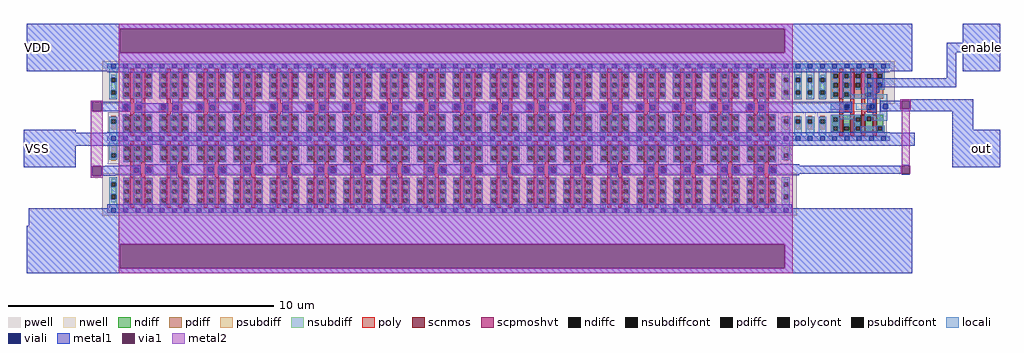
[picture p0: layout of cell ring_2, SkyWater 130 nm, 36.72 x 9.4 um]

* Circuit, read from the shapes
.subckt ring_2 VSS VDD enable out
XM1 sky130_fd_sc_hd__inv_2_35/A sky130_fd_sc_hd__inv_2_33/A VSS VSS sky130_fd_pr__nfet_01v8 w=0.65 l=0.15 m=2
XM2 sky130_fd_sc_hd__inv_2_19/A sky130_fd_sc_hd__inv_2_35/A VSS VSS sky130_fd_pr__nfet_01v8 w=0.65 l=0.15 m=2
XM3 sky130_fd_sc_hd__inv_2_33/A sky130_fd_sc_hd__inv_2_18/A VSS VSS sky130_fd_pr__nfet_01v8 w=0.65 l=0.15 m=2
XM4 sky130_fd_sc_hd__inv_2_34/A sky130_fd_sc_hd__inv_2_19/A VSS VSS sky130_fd_pr__nfet_01v8 w=0.65 l=0.15 m=2
XM5 sky130_fd_sc_hd__inv_2_18/A sky130_fd_sc_hd__inv_2_32/A VSS VSS sky130_fd_pr__nfet_01v8 w=0.65 l=0.15 m=2
XM6 sky130_fd_sc_hd__inv_2_31/A sky130_fd_sc_hd__inv_2_34/A VSS VSS sky130_fd_pr__nfet_01v8 w=0.65 l=0.15 m=2
XM7 sky130_fd_sc_hd__inv_2_32/A sky130_fd_sc_hd__inv_2_30/A VSS VSS sky130_fd_pr__nfet_01v8 w=0.65 l=0.15 m=2
XM8 sky130_fd_sc_hd__inv_2_29/A sky130_fd_sc_hd__inv_2_31/A VSS VSS sky130_fd_pr__nfet_01v8 w=0.65 l=0.15 m=2
XM9 sky130_fd_sc_hd__inv_2_30/A sky130_fd_sc_hd__inv_2_28/A VSS VSS sky130_fd_pr__nfet_01v8 w=0.65 l=0.15 m=2
XM10 sky130_fd_sc_hd__inv_2_27/A sky130_fd_sc_hd__inv_2_29/A VSS VSS sky130_fd_pr__nfet_01v8 w=0.65 l=0.15 m=2
XM11 sky130_fd_sc_hd__inv_2_28/A sky130_fd_sc_hd__inv_2_24/A VSS VSS sky130_fd_pr__nfet_01v8 w=0.65 l=0.15 m=2
XM12 sky130_fd_sc_hd__inv_2_26/A sky130_fd_sc_hd__inv_2_27/A VSS VSS sky130_fd_pr__nfet_01v8 w=0.65 l=0.15 m=2
XM13 sky130_fd_sc_hd__inv_2_24/A sky130_fd_sc_hd__inv_2_25/A VSS VSS sky130_fd_pr__nfet_01v8 w=0.65 l=0.15 m=2
XM14 sky130_fd_sc_hd__inv_2_23/A sky130_fd_sc_hd__inv_2_26/A VSS VSS sky130_fd_pr__nfet_01v8 w=0.65 l=0.15 m=2
XM15 sky130_fd_sc_hd__inv_2_25/A sky130_fd_sc_hd__inv_2_22/A VSS VSS sky130_fd_pr__nfet_01v8 w=0.65 l=0.15 m=2
XM16 sky130_fd_sc_hd__inv_2_21/A sky130_fd_sc_hd__inv_2_23/A VSS VSS sky130_fd_pr__nfet_01v8 w=0.65 l=0.15 m=2
XM17 sky130_fd_sc_hd__inv_2_22/A sky130_fd_sc_hd__inv_2_20/A VSS VSS sky130_fd_pr__nfet_01v8 w=0.65 l=0.15 m=2
XM18 sky130_fd_sc_hd__inv_2_1/A sky130_fd_sc_hd__inv_2_21/A VSS VSS sky130_fd_pr__nfet_01v8 w=0.65 l=0.15 m=2
XM19 sky130_fd_sc_hd__inv_2_20/A sky130_fd_sc_hd__inv_2_8/A VSS VSS sky130_fd_pr__nfet_01v8 w=0.65 l=0.15 m=2
XM20 sky130_fd_sc_hd__inv_2_2/A sky130_fd_sc_hd__inv_2_1/A VSS VSS sky130_fd_pr__nfet_01v8 w=0.65 l=0.15 m=2
XM21 sky130_fd_sc_hd__inv_2_8/A sky130_fd_sc_hd__inv_2_17/A VSS VSS sky130_fd_pr__nfet_01v8 w=0.65 l=0.15 m=2
XM22 sky130_fd_sc_hd__inv_2_3/A sky130_fd_sc_hd__inv_2_2/A VSS VSS sky130_fd_pr__nfet_01v8 w=0.65 l=0.15 m=2
XM23 sky130_fd_sc_hd__inv_2_17/A sky130_fd_sc_hd__inv_2_16/A VSS VSS sky130_fd_pr__nfet_01v8 w=0.65 l=0.15 m=2
XM24 sky130_fd_sc_hd__inv_2_4/A sky130_fd_sc_hd__inv_2_3/A VSS VSS sky130_fd_pr__nfet_01v8 w=0.65 l=0.15 m=2
XM25 sky130_fd_sc_hd__inv_2_16/A sky130_fd_sc_hd__inv_2_15/A VSS VSS sky130_fd_pr__nfet_01v8 w=0.65 l=0.15 m=2
XM26 sky130_fd_sc_hd__inv_2_5/A sky130_fd_sc_hd__inv_2_4/A VSS VSS sky130_fd_pr__nfet_01v8 w=0.65 l=0.15 m=2
XM27 sky130_fd_sc_hd__inv_2_15/A sky130_fd_sc_hd__inv_2_14/A VSS VSS sky130_fd_pr__nfet_01v8 w=0.65 l=0.15 m=2
XM28 sky130_fd_sc_hd__inv_2_6/A sky130_fd_sc_hd__inv_2_5/A VSS VSS sky130_fd_pr__nfet_01v8 w=0.65 l=0.15 m=2
XM29 sky130_fd_sc_hd__inv_2_14/A sky130_fd_sc_hd__inv_2_13/A VSS VSS sky130_fd_pr__nfet_01v8 w=0.65 l=0.15 m=2
XM30 sky130_fd_sc_hd__inv_2_7/A sky130_fd_sc_hd__inv_2_6/A VSS VSS sky130_fd_pr__nfet_01v8 w=0.65 l=0.15 m=2
XM31 sky130_fd_sc_hd__inv_2_13/A sky130_fd_sc_hd__inv_2_12/A VSS VSS sky130_fd_pr__nfet_01v8 w=0.65 l=0.15 m=2
XM32 sky130_fd_sc_hd__inv_2_0/A sky130_fd_sc_hd__inv_2_7/A VSS VSS sky130_fd_pr__nfet_01v8 w=0.65 l=0.15 m=2
XM33 sky130_fd_sc_hd__inv_2_12/A sky130_fd_sc_hd__inv_2_11/A VSS VSS sky130_fd_pr__nfet_01v8 w=0.65 l=0.15 m=2
XM34 sky130_fd_sc_hd__inv_2_9/A sky130_fd_sc_hd__inv_2_0/A VSS VSS sky130_fd_pr__nfet_01v8 w=0.65 l=0.15 m=2
XM35 sky130_fd_sc_hd__inv_2_11/A out VSS VSS sky130_fd_pr__nfet_01v8 w=0.65 l=0.15 m=2
XM36 sky130_fd_sc_hd__nand2_2_0/B sky130_fd_sc_hd__inv_2_9/A VSS VSS sky130_fd_pr__nfet_01v8 w=0.65 l=0.15 m=2
XM37 VSS sky130_fd_sc_hd__nand2_2_0/B n1 VSS sky130_fd_pr__nfet_01v8 w=0.65 l=0.15 m=2
XM38 out enable n1 VSS sky130_fd_pr__nfet_01v8 w=0.65 l=0.15 m=2
XM39 sky130_fd_sc_hd__inv_2_35/A sky130_fd_sc_hd__inv_2_33/A VDD VDD sky130_fd_pr__pfet_01v8_hvt w=1 l=0.15 m=2
XM40 sky130_fd_sc_hd__inv_2_19/A sky130_fd_sc_hd__inv_2_35/A VDD VDD sky130_fd_pr__pfet_01v8_hvt w=1 l=0.15 m=2
XM41 sky130_fd_sc_hd__inv_2_33/A sky130_fd_sc_hd__inv_2_18/A VDD VDD sky130_fd_pr__pfet_01v8_hvt w=1 l=0.15 m=2
XM42 sky130_fd_sc_hd__inv_2_34/A sky130_fd_sc_hd__inv_2_19/A VDD VDD sky130_fd_pr__pfet_01v8_hvt w=1 l=0.15 m=2
XM43 sky130_fd_sc_hd__inv_2_18/A sky130_fd_sc_hd__inv_2_32/A VDD VDD sky130_fd_pr__pfet_01v8_hvt w=1 l=0.15 m=2
XM44 sky130_fd_sc_hd__inv_2_31/A sky130_fd_sc_hd__inv_2_34/A VDD VDD sky130_fd_pr__pfet_01v8_hvt w=1 l=0.15 m=2
XM45 sky130_fd_sc_hd__inv_2_32/A sky130_fd_sc_hd__inv_2_30/A VDD VDD sky130_fd_pr__pfet_01v8_hvt w=1 l=0.15 m=2
XM46 sky130_fd_sc_hd__inv_2_29/A sky130_fd_sc_hd__inv_2_31/A VDD VDD sky130_fd_pr__pfet_01v8_hvt w=1 l=0.15 m=2
XM47 sky130_fd_sc_hd__inv_2_30/A sky130_fd_sc_hd__inv_2_28/A VDD VDD sky130_fd_pr__pfet_01v8_hvt w=1 l=0.15 m=2
XM48 sky130_fd_sc_hd__inv_2_27/A sky130_fd_sc_hd__inv_2_29/A VDD VDD sky130_fd_pr__pfet_01v8_hvt w=1 l=0.15 m=2
XM49 sky130_fd_sc_hd__inv_2_28/A sky130_fd_sc_hd__inv_2_24/A VDD VDD sky130_fd_pr__pfet_01v8_hvt w=1 l=0.15 m=2
XM50 sky130_fd_sc_hd__inv_2_26/A sky130_fd_sc_hd__inv_2_27/A VDD VDD sky130_fd_pr__pfet_01v8_hvt w=1 l=0.15 m=2
XM51 sky130_fd_sc_hd__inv_2_24/A sky130_fd_sc_hd__inv_2_25/A VDD VDD sky130_fd_pr__pfet_01v8_hvt w=1 l=0.15 m=2
XM52 sky130_fd_sc_hd__inv_2_23/A sky130_fd_sc_hd__inv_2_26/A VDD VDD sky130_fd_pr__pfet_01v8_hvt w=1 l=0.15 m=2
XM53 sky130_fd_sc_hd__inv_2_25/A sky130_fd_sc_hd__inv_2_22/A VDD VDD sky130_fd_pr__pfet_01v8_hvt w=1 l=0.15 m=2
XM54 sky130_fd_sc_hd__inv_2_21/A sky130_fd_sc_hd__inv_2_23/A VDD VDD sky130_fd_pr__pfet_01v8_hvt w=1 l=0.15 m=2
XM55 sky130_fd_sc_hd__inv_2_22/A sky130_fd_sc_hd__inv_2_20/A VDD VDD sky130_fd_pr__pfet_01v8_hvt w=1 l=0.15 m=2
XM56 sky130_fd_sc_hd__inv_2_1/A sky130_fd_sc_hd__inv_2_21/A VDD VDD sky130_fd_pr__pfet_01v8_hvt w=1 l=0.15 m=2
XM57 sky130_fd_sc_hd__inv_2_20/A sky130_fd_sc_hd__inv_2_8/A VDD VDD sky130_fd_pr__pfet_01v8_hvt w=1 l=0.15 m=2
XM58 sky130_fd_sc_hd__inv_2_2/A sky130_fd_sc_hd__inv_2_1/A VDD VDD sky130_fd_pr__pfet_01v8_hvt w=1 l=0.15 m=2
XM59 sky130_fd_sc_hd__inv_2_8/A sky130_fd_sc_hd__inv_2_17/A VDD VDD sky130_fd_pr__pfet_01v8_hvt w=1 l=0.15 m=2
XM60 sky130_fd_sc_hd__inv_2_3/A sky130_fd_sc_hd__inv_2_2/A VDD VDD sky130_fd_pr__pfet_01v8_hvt w=1 l=0.15 m=2
XM61 sky130_fd_sc_hd__inv_2_17/A sky130_fd_sc_hd__inv_2_16/A VDD VDD sky130_fd_pr__pfet_01v8_hvt w=1 l=0.15 m=2
XM62 sky130_fd_sc_hd__inv_2_4/A sky130_fd_sc_hd__inv_2_3/A VDD VDD sky130_fd_pr__pfet_01v8_hvt w=1 l=0.15 m=2
XM63 sky130_fd_sc_hd__inv_2_16/A sky130_fd_sc_hd__inv_2_15/A VDD VDD sky130_fd_pr__pfet_01v8_hvt w=1 l=0.15 m=2
XM64 sky130_fd_sc_hd__inv_2_5/A sky130_fd_sc_hd__inv_2_4/A VDD VDD sky130_fd_pr__pfet_01v8_hvt w=1 l=0.15 m=2
XM65 sky130_fd_sc_hd__inv_2_15/A sky130_fd_sc_hd__inv_2_14/A VDD VDD sky130_fd_pr__pfet_01v8_hvt w=1 l=0.15 m=2
XM66 sky130_fd_sc_hd__inv_2_6/A sky130_fd_sc_hd__inv_2_5/A VDD VDD sky130_fd_pr__pfet_01v8_hvt w=1 l=0.15 m=2
XM67 sky130_fd_sc_hd__inv_2_14/A sky130_fd_sc_hd__inv_2_13/A VDD VDD sky130_fd_pr__pfet_01v8_hvt w=1 l=0.15 m=2
XM68 sky130_fd_sc_hd__inv_2_7/A sky130_fd_sc_hd__inv_2_6/A VDD VDD sky130_fd_pr__pfet_01v8_hvt w=1 l=0.15 m=2
XM69 sky130_fd_sc_hd__inv_2_13/A sky130_fd_sc_hd__inv_2_12/A VDD VDD sky130_fd_pr__pfet_01v8_hvt w=1 l=0.15 m=2
XM70 sky130_fd_sc_hd__inv_2_0/A sky130_fd_sc_hd__inv_2_7/A VDD VDD sky130_fd_pr__pfet_01v8_hvt w=1 l=0.15 m=2
XM71 sky130_fd_sc_hd__inv_2_12/A sky130_fd_sc_hd__inv_2_11/A VDD VDD sky130_fd_pr__pfet_01v8_hvt w=1 l=0.15 m=2
XM72 sky130_fd_sc_hd__inv_2_9/A sky130_fd_sc_hd__inv_2_0/A VDD VDD sky130_fd_pr__pfet_01v8_hvt w=1 l=0.15 m=2
XM73 sky130_fd_sc_hd__inv_2_11/A out VDD VDD sky130_fd_pr__pfet_01v8_hvt w=1 l=0.15 m=2
XM74 sky130_fd_sc_hd__nand2_2_0/B sky130_fd_sc_hd__inv_2_9/A VDD VDD sky130_fd_pr__pfet_01v8_hvt w=1 l=0.15 m=2
XM75 out sky130_fd_sc_hd__nand2_2_0/B VDD VDD sky130_fd_pr__pfet_01v8_hvt w=1 l=0.15 m=2
XM76 out enable VDD VDD sky130_fd_pr__pfet_01v8_hvt w=1 l=0.15 m=2
.ends

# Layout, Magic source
magic
tech sky130A
magscale 1 2
<< nwell >>
rect 2640 136 2944 360
<< viali >>
rect -1954 0 -1920 34
rect -1854 -10 -1820 24
rect -1670 0 -1636 34
rect -1578 -10 -1544 24
rect -1398 0 -1364 34
rect -1302 -10 -1268 24
rect -1122 0 -1088 34
rect -1026 -10 -992 24
rect -846 0 -812 34
rect -750 -10 -716 24
rect -570 0 -536 34
rect -474 -10 -440 24
rect -294 0 -260 34
rect -198 -10 -164 24
rect -18 0 16 34
rect 78 -10 112 24
rect 258 0 292 34
rect 354 -10 388 24
rect 534 0 568 34
rect 630 -10 664 24
rect 820 0 854 34
rect 906 -10 940 24
rect 1086 0 1120 34
rect 1182 -10 1216 24
rect 1362 0 1396 34
rect 1458 -10 1492 24
rect 1638 0 1672 34
rect 1734 -10 1768 24
rect 1914 0 1948 34
rect 2010 -10 2044 24
rect 2190 0 2224 34
rect 2286 -10 2320 24
rect 2466 0 2500 34
rect 2562 -10 2596 24
rect 2742 0 2776 34
rect 2830 -10 2864 24
rect 3470 0 3504 34
rect 3660 0 3694 34
rect 3760 0 3794 34
rect -1874 -480 -1840 -446
rect -1780 -480 -1746 -446
rect -1600 -470 -1566 -436
rect -1498 -484 -1464 -450
rect -1318 -474 -1284 -440
rect -1222 -484 -1188 -450
rect -1042 -474 -1008 -440
rect -946 -484 -912 -450
rect -766 -474 -732 -440
rect -670 -484 -636 -450
rect -490 -474 -456 -440
rect -394 -484 -360 -450
rect -214 -474 -180 -440
rect -118 -484 -84 -450
rect 62 -474 96 -440
rect 158 -484 192 -450
rect 338 -474 372 -440
rect 434 -484 468 -450
rect 614 -474 648 -440
rect 710 -474 744 -440
rect 890 -474 924 -440
rect 986 -484 1020 -450
rect 1166 -474 1200 -440
rect 1262 -484 1296 -450
rect 1442 -474 1476 -440
rect 1538 -484 1572 -450
rect 1718 -474 1752 -440
rect 1814 -484 1848 -450
rect 1994 -474 2028 -440
rect 2090 -484 2124 -450
rect 2270 -474 2304 -440
rect 2366 -484 2400 -450
rect 2546 -474 2580 -440
rect 2642 -484 2676 -450
rect 2822 -474 2856 -440
rect 2918 -484 2952 -450
<< metal1 >>
rect -2684 600 3980 640
rect -2684 420 -1984 600
rect 3020 420 3980 600
rect 4360 495 4640 640
rect -2684 280 3980 420
rect 4240 425 4640 495
rect 4240 230 4310 425
rect 4360 280 4640 425
rect 3640 160 4310 230
rect 3640 120 3730 160
rect -2195 -20 -2189 50
rect -2119 34 -1904 50
rect -1864 40 -1820 50
rect -2119 0 -1954 34
rect -1920 0 -1904 34
rect -2119 -20 -1904 0
rect -1870 34 -1620 40
rect -1870 24 -1670 34
rect -1870 -10 -1854 24
rect -1820 0 -1670 24
rect -1636 0 -1620 34
rect -1820 -10 -1620 0
rect -1870 -30 -1620 -10
rect -1588 34 -1348 50
rect -1588 24 -1398 34
rect -1588 -10 -1578 24
rect -1544 0 -1398 24
rect -1364 0 -1348 34
rect -1544 -10 -1348 0
rect -1588 -30 -1348 -10
rect -1312 34 -1072 50
rect -1312 24 -1122 34
rect -1312 -10 -1302 24
rect -1268 0 -1122 24
rect -1088 0 -1072 34
rect -1268 -10 -1072 0
rect -1312 -30 -1072 -10
rect -1036 34 -796 50
rect -1036 24 -846 34
rect -1036 -10 -1026 24
rect -992 0 -846 24
rect -812 0 -796 34
rect -992 -10 -796 0
rect -1036 -30 -796 -10
rect -760 34 -520 50
rect -760 24 -570 34
rect -760 -10 -750 24
rect -716 0 -570 24
rect -536 0 -520 34
rect -716 -10 -520 0
rect -760 -30 -520 -10
rect -484 34 -244 50
rect -484 24 -294 34
rect -484 -10 -474 24
rect -440 0 -294 24
rect -260 0 -244 34
rect -440 -10 -244 0
rect -484 -30 -244 -10
rect -208 34 32 50
rect -208 24 -18 34
rect -208 -10 -198 24
rect -164 0 -18 24
rect 16 0 32 34
rect -164 -10 32 0
rect -208 -30 32 -10
rect 68 34 308 50
rect 68 24 258 34
rect 68 -10 78 24
rect 112 0 258 24
rect 292 0 308 34
rect 112 -10 308 0
rect 68 -30 308 -10
rect 344 34 580 50
rect 344 24 534 34
rect 344 -10 354 24
rect 388 0 534 24
rect 568 0 580 34
rect 388 -10 580 0
rect 344 -30 580 -10
rect 610 34 860 50
rect 610 24 820 34
rect 610 -10 630 24
rect 664 0 820 24
rect 854 0 860 34
rect 664 -10 860 0
rect 610 -30 860 -10
rect 896 34 1136 50
rect 896 24 1086 34
rect 896 -10 906 24
rect 940 0 1086 24
rect 1120 0 1136 34
rect 940 -10 1136 0
rect 896 -30 1136 -10
rect 1172 34 1412 50
rect 1172 24 1362 34
rect 1172 -10 1182 24
rect 1216 0 1362 24
rect 1396 0 1412 34
rect 1216 -10 1412 0
rect 1172 -30 1412 -10
rect 1448 34 1688 50
rect 1448 24 1638 34
rect 1448 -10 1458 24
rect 1492 0 1638 24
rect 1672 0 1688 34
rect 1492 -10 1688 0
rect 1448 -30 1688 -10
rect 1724 34 1964 50
rect 1724 24 1914 34
rect 1724 -10 1734 24
rect 1768 0 1914 24
rect 1948 0 1964 34
rect 1768 -10 1964 0
rect 1724 -30 1964 -10
rect 2000 34 2240 50
rect 2000 24 2190 34
rect 2000 -10 2010 24
rect 2044 0 2190 24
rect 2224 0 2240 34
rect 2044 -10 2240 0
rect 2000 -30 2240 -10
rect 2276 34 2516 50
rect 2276 24 2466 34
rect 2276 -10 2286 24
rect 2320 0 2466 24
rect 2500 0 2516 34
rect 2320 -10 2516 0
rect 2276 -30 2516 -10
rect 2552 34 2792 50
rect 2552 24 2742 34
rect 2552 -10 2562 24
rect 2596 0 2742 24
rect 2776 0 2792 34
rect 2596 -10 2792 0
rect 2552 -30 2792 -10
rect 2820 34 3530 50
rect 2820 24 3470 34
rect 2820 -10 2830 24
rect 2864 0 3470 24
rect 3504 0 3530 34
rect 2864 -10 3530 0
rect 2820 -30 3530 -10
rect 3640 34 3710 120
rect 3890 60 4440 70
rect 3640 0 3660 34
rect 3694 0 3710 34
rect 3640 -30 3710 0
rect 3740 34 3900 60
rect 3740 0 3760 34
rect 3794 0 3900 34
rect 3960 0 4440 60
rect 3740 -20 4440 0
rect 4280 -160 4440 -20
rect -2704 -180 -2314 -160
rect -2704 -280 -1748 -180
rect -1656 -280 4000 -180
rect -2704 -440 -2314 -280
rect -2094 -435 -1824 -430
rect -2195 -505 -2189 -435
rect -2119 -446 -1824 -435
rect -2119 -480 -1874 -446
rect -1840 -480 -1824 -446
rect -2119 -500 -1824 -480
rect -1790 -436 -1550 -420
rect -1790 -446 -1600 -436
rect -1790 -480 -1780 -446
rect -1746 -470 -1600 -446
rect -1566 -470 -1550 -436
rect -1746 -480 -1550 -470
rect -1790 -500 -1550 -480
rect -1514 -440 -1274 -420
rect -1514 -450 -1318 -440
rect -1514 -484 -1498 -450
rect -1464 -474 -1318 -450
rect -1284 -474 -1274 -440
rect -1464 -484 -1274 -474
rect -1514 -500 -1274 -484
rect -1238 -440 -998 -420
rect -1238 -450 -1042 -440
rect -1238 -484 -1222 -450
rect -1188 -474 -1042 -450
rect -1008 -474 -998 -440
rect -1188 -484 -998 -474
rect -1238 -500 -998 -484
rect -962 -440 -722 -420
rect -962 -450 -766 -440
rect -962 -484 -946 -450
rect -912 -474 -766 -450
rect -732 -474 -722 -440
rect -912 -484 -722 -474
rect -962 -500 -722 -484
rect -686 -440 -446 -420
rect -686 -450 -490 -440
rect -686 -484 -670 -450
rect -636 -474 -490 -450
rect -456 -474 -446 -440
rect -636 -484 -446 -474
rect -686 -500 -446 -484
rect -410 -440 -170 -420
rect -410 -450 -214 -440
rect -410 -484 -394 -450
rect -360 -474 -214 -450
rect -180 -474 -170 -440
rect -360 -484 -170 -474
rect -410 -500 -170 -484
rect -134 -440 106 -420
rect -134 -450 62 -440
rect -134 -484 -118 -450
rect -84 -474 62 -450
rect 96 -474 106 -440
rect -84 -484 106 -474
rect -134 -500 106 -484
rect 142 -440 382 -420
rect 142 -450 338 -440
rect 142 -484 158 -450
rect 192 -474 338 -450
rect 372 -474 382 -440
rect 192 -484 382 -474
rect 142 -500 382 -484
rect 418 -430 658 -420
rect 418 -440 660 -430
rect 418 -450 614 -440
rect 418 -484 434 -450
rect 468 -474 614 -450
rect 648 -474 660 -440
rect 468 -484 660 -474
rect 418 -500 660 -484
rect 694 -440 934 -420
rect 694 -474 710 -440
rect 744 -474 890 -440
rect 924 -474 934 -440
rect 694 -500 934 -474
rect 970 -440 1210 -420
rect 970 -450 1166 -440
rect 970 -484 986 -450
rect 1020 -474 1166 -450
rect 1200 -474 1210 -440
rect 1020 -484 1210 -474
rect 970 -500 1210 -484
rect 1246 -440 1486 -420
rect 1246 -450 1442 -440
rect 1246 -484 1262 -450
rect 1296 -474 1442 -450
rect 1476 -474 1486 -440
rect 1296 -484 1486 -474
rect 1246 -500 1486 -484
rect 1522 -440 1762 -420
rect 1522 -450 1718 -440
rect 1522 -484 1538 -450
rect 1572 -474 1718 -450
rect 1752 -474 1762 -440
rect 1572 -484 1762 -474
rect 1522 -500 1762 -484
rect 1798 -440 2038 -420
rect 1798 -450 1994 -440
rect 1798 -484 1814 -450
rect 1848 -474 1994 -450
rect 2028 -474 2038 -440
rect 1848 -484 2038 -474
rect 1798 -500 2038 -484
rect 2074 -440 2314 -420
rect 2074 -450 2270 -440
rect 2074 -484 2090 -450
rect 2124 -474 2270 -450
rect 2304 -474 2314 -440
rect 2124 -484 2314 -474
rect 2074 -500 2314 -484
rect 2350 -440 2590 -420
rect 2350 -450 2546 -440
rect 2350 -484 2366 -450
rect 2400 -474 2546 -450
rect 2580 -474 2590 -440
rect 2400 -484 2590 -474
rect 2350 -500 2590 -484
rect 2626 -440 2866 -420
rect 2626 -450 2822 -440
rect 2626 -484 2642 -450
rect 2676 -474 2822 -450
rect 2856 -474 2866 -440
rect 2676 -484 2866 -474
rect 2626 -500 2866 -484
rect 2902 -430 3128 -420
rect 3900 -430 3960 -424
rect 2902 -450 3900 -430
rect 2902 -484 2918 -450
rect 2952 -484 3900 -450
rect 2902 -490 3900 -484
rect 4280 -440 4640 -160
rect 2902 -500 3128 -490
rect 3900 -496 3960 -490
rect -2119 -505 -2019 -500
rect -2668 -750 3956 -748
rect -2668 -880 3980 -750
rect -2684 -1020 3980 -880
rect -2684 -1200 -1984 -1020
rect 3020 -1200 3980 -1020
rect -2684 -1240 3980 -1200
<< via1 >>
rect -1984 420 3020 600
rect -2189 -20 -2119 50
rect 3900 0 3960 60
rect -2189 -505 -2119 -435
rect 3900 -490 3960 -430
rect -1984 -1200 3020 -1020
<< metal2 >>
rect -1990 600 3080 640
rect -1990 420 -1984 600
rect 3020 420 3080 600
rect -2200 50 -2110 60
rect -2200 -20 -2189 50
rect -2119 -20 -2110 50
rect -2200 -435 -2110 -20
rect -2200 -505 -2189 -435
rect -2119 -505 -2110 -435
rect -2200 -520 -2110 -505
rect -1990 -1020 3080 420
rect 3890 60 3970 70
rect 3890 0 3900 60
rect 3960 0 3970 60
rect 3890 -10 3970 0
rect 3900 -430 3960 -10
rect 3894 -490 3900 -430
rect 3960 -490 3966 -430
rect -1990 -1200 -1984 -1020
rect 3020 -1200 3080 -1020
rect -1990 -1240 3080 -1200
use sky130_fd_sc_hd__inv_2  sky130_fd_sc_hd__inv_2_0
transform 1 0 2430 0 1 -224
box -38 -48 314 592
use sky130_fd_sc_hd__inv_2  sky130_fd_sc_hd__inv_2_1
transform 1 0 498 0 1 -224
box -38 -48 314 592
use sky130_fd_sc_hd__inv_2  sky130_fd_sc_hd__inv_2_2
transform 1 0 774 0 1 -224
box -38 -48 314 592
use sky130_fd_sc_hd__inv_2  sky130_fd_sc_hd__inv_2_3
transform 1 0 1050 0 1 -224
box -38 -48 314 592
use sky130_fd_sc_hd__inv_2  sky130_fd_sc_hd__inv_2_4
transform 1 0 1326 0 1 -224
box -38 -48 314 592
use sky130_fd_sc_hd__inv_2  sky130_fd_sc_hd__inv_2_5
transform 1 0 1602 0 1 -224
box -38 -48 314 592
use sky130_fd_sc_hd__inv_2  sky130_fd_sc_hd__inv_2_6
transform 1 0 1878 0 1 -224
box -38 -48 314 592
use sky130_fd_sc_hd__inv_2  sky130_fd_sc_hd__inv_2_7
transform 1 0 2154 0 1 -224
box -38 -48 314 592
use sky130_fd_sc_hd__inv_2  sky130_fd_sc_hd__inv_2_8
transform -1 0 774 0 -1 -224
box -38 -48 314 592
use sky130_fd_sc_hd__inv_2  sky130_fd_sc_hd__inv_2_9
transform 1 0 2706 0 1 -224
box -38 -48 314 592
use sky130_fd_sc_hd__inv_2  sky130_fd_sc_hd__inv_2_10
transform -1 0 2982 0 -1 -224
box -38 -48 314 592
use sky130_fd_sc_hd__inv_2  sky130_fd_sc_hd__inv_2_11
transform -1 0 2706 0 -1 -224
box -38 -48 314 592
use sky130_fd_sc_hd__inv_2  sky130_fd_sc_hd__inv_2_12
transform -1 0 2430 0 -1 -224
box -38 -48 314 592
use sky130_fd_sc_hd__inv_2  sky130_fd_sc_hd__inv_2_13
transform -1 0 2154 0 -1 -224
box -38 -48 314 592
use sky130_fd_sc_hd__inv_2  sky130_fd_sc_hd__inv_2_14
transform -1 0 1878 0 -1 -224
box -38 -48 314 592
use sky130_fd_sc_hd__inv_2  sky130_fd_sc_hd__inv_2_15
transform -1 0 1602 0 -1 -224
box -38 -48 314 592
use sky130_fd_sc_hd__inv_2  sky130_fd_sc_hd__inv_2_16
transform -1 0 1326 0 -1 -224
box -38 -48 314 592
use sky130_fd_sc_hd__inv_2  sky130_fd_sc_hd__inv_2_17
transform -1 0 1050 0 -1 -224
box -38 -48 314 592
use sky130_fd_sc_hd__inv_2  sky130_fd_sc_hd__inv_2_18
transform -1 0 -1434 0 -1 -224
box -38 -48 314 592
use sky130_fd_sc_hd__inv_2  sky130_fd_sc_hd__inv_2_19
transform 1 0 -1710 0 1 -224
box -38 -48 314 592
use sky130_fd_sc_hd__inv_2  sky130_fd_sc_hd__inv_2_20
transform -1 0 498 0 -1 -224
box -38 -48 314 592
use sky130_fd_sc_hd__inv_2  sky130_fd_sc_hd__inv_2_21
transform 1 0 222 0 1 -224
box -38 -48 314 592
use sky130_fd_sc_hd__inv_2  sky130_fd_sc_hd__inv_2_22
transform -1 0 222 0 -1 -224
box -38 -48 314 592
use sky130_fd_sc_hd__inv_2  sky130_fd_sc_hd__inv_2_23
transform 1 0 -54 0 1 -224
box -38 -48 314 592
use sky130_fd_sc_hd__inv_2  sky130_fd_sc_hd__inv_2_24
transform -1 0 -330 0 -1 -224
box -38 -48 314 592
use sky130_fd_sc_hd__inv_2  sky130_fd_sc_hd__inv_2_25
transform -1 0 -54 0 -1 -224
box -38 -48 314 592
use sky130_fd_sc_hd__inv_2  sky130_fd_sc_hd__inv_2_26
transform 1 0 -330 0 1 -224
box -38 -48 314 592
use sky130_fd_sc_hd__inv_2  sky130_fd_sc_hd__inv_2_27
transform 1 0 -606 0 1 -224
box -38 -48 314 592
use sky130_fd_sc_hd__inv_2  sky130_fd_sc_hd__inv_2_28
transform -1 0 -606 0 -1 -224
box -38 -48 314 592
use sky130_fd_sc_hd__inv_2  sky130_fd_sc_hd__inv_2_29
transform 1 0 -882 0 1 -224
box -38 -48 314 592
use sky130_fd_sc_hd__inv_2  sky130_fd_sc_hd__inv_2_30
transform -1 0 -882 0 -1 -224
box -38 -48 314 592
use sky130_fd_sc_hd__inv_2  sky130_fd_sc_hd__inv_2_31
transform 1 0 -1158 0 1 -224
box -38 -48 314 592
use sky130_fd_sc_hd__inv_2  sky130_fd_sc_hd__inv_2_32
transform -1 0 -1158 0 -1 -224
box -38 -48 314 592
use sky130_fd_sc_hd__inv_2  sky130_fd_sc_hd__inv_2_33
transform -1 0 -1710 0 -1 -224
box -38 -48 314 592
use sky130_fd_sc_hd__inv_2  sky130_fd_sc_hd__inv_2_34
transform 1 0 -1434 0 1 -224
box -38 -48 314 592
use sky130_fd_sc_hd__inv_2  sky130_fd_sc_hd__inv_2_35
transform 1 0 -1986 0 1 -224
box -38 -48 314 592
use sky130_fd_sc_hd__nand2_2  sky130_fd_sc_hd__nand2_2_0
transform 1 0 3350 0 1 -224
box -38 -48 498 592
use sky130_fd_sc_hd__tapvpwrvgnd_1  sky130_fd_sc_hd__tapvpwrvgnd_1_0
transform 1 0 -2078 0 -1 -224
box -38 -48 130 592
use sky130_fd_sc_hd__tapvpwrvgnd_1  sky130_fd_sc_hd__tapvpwrvgnd_1_1
transform 1 0 -2078 0 1 -224
box -38 -48 130 592
use sky130_fd_sc_hd__tapvpwrvgnd_1  sky130_fd_sc_hd__tapvpwrvgnd_1_2
transform 1 0 2982 0 -1 -224
box -38 -48 130 592
use sky130_fd_sc_hd__tapvpwrvgnd_1  sky130_fd_sc_hd__tapvpwrvgnd_1_3
transform 1 0 2982 0 1 -224
box -38 -48 130 592
use sky130_fd_sc_hd__tapvpwrvgnd_1  sky130_fd_sc_hd__tapvpwrvgnd_1_4
transform 1 0 3166 0 1 -224
box -38 -48 130 592
use sky130_fd_sc_hd__tapvpwrvgnd_1  sky130_fd_sc_hd__tapvpwrvgnd_1_5
transform 1 0 3258 0 1 -224
box -38 -48 130 592
use sky130_fd_sc_hd__tapvpwrvgnd_1  sky130_fd_sc_hd__tapvpwrvgnd_1_6
transform 1 0 3074 0 1 -224
box -38 -48 130 592
<< labels >>
flabel metal1 4360 280 4640 640 0 FreeSans 1600 0 0 0 enable
port 3 nsew
flabel metal1 4360 -440 4640 -160 0 FreeSans 1600 0 0 0 out
port 5 nsew
flabel metal1 -2684 280 -2524 640 0 FreeSans 1600 0 0 0 VDD
port 2 nsew
flabel metal1 -2704 -440 -2504 -160 0 FreeSans 1600 0 0 0 VSS
port 0 nsew
<< end >>

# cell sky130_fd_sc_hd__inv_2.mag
magic
tech sky130A
magscale 1 2
<< nwell >>
rect -38 261 314 582
<< pwell >>
rect 3 21 273 203
rect 29 -17 63 21
<< scnmos >>
rect 81 47 111 177
rect 165 47 195 177
<< scpmoshvt >>
rect 81 297 111 497
rect 165 297 195 497
<< ndiff >>
rect 29 165 81 177
rect 29 131 37 165
rect 71 131 81 165
rect 29 93 81 131
rect 29 59 37 93
rect 71 59 81 93
rect 29 47 81 59
rect 111 165 165 177
rect 111 131 121 165
rect 155 131 165 165
rect 111 93 165 131
rect 111 59 121 93
rect 155 59 165 93
rect 111 47 165 59
rect 195 165 247 177
rect 195 131 205 165
rect 239 131 247 165
rect 195 93 247 131
rect 195 59 205 93
rect 239 59 247 93
rect 195 47 247 59
<< pdiff >>
rect 29 485 81 497
rect 29 451 37 485
rect 71 451 81 485
rect 29 417 81 451
rect 29 383 37 417
rect 71 383 81 417
rect 29 349 81 383
rect 29 315 37 349
rect 71 315 81 349
rect 29 297 81 315
rect 111 485 165 497
rect 111 451 121 485
rect 155 451 165 485
rect 111 417 165 451
rect 111 383 121 417
rect 155 383 165 417
rect 111 349 165 383
rect 111 315 121 349
rect 155 315 165 349
rect 111 297 165 315
rect 195 485 247 497
rect 195 451 205 485
rect 239 451 247 485
rect 195 417 247 451
rect 195 383 205 417
rect 239 383 247 417
rect 195 349 247 383
rect 195 315 205 349
rect 239 315 247 349
rect 195 297 247 315
<< ndiffc >>
rect 37 131 71 165
rect 37 59 71 93
rect 121 131 155 165
rect 121 59 155 93
rect 205 131 239 165
rect 205 59 239 93
<< pdiffc >>
rect 37 451 71 485
rect 37 383 71 417
rect 37 315 71 349
rect 121 451 155 485
rect 121 383 155 417
rect 121 315 155 349
rect 205 451 239 485
rect 205 383 239 417
rect 205 315 239 349
<< poly >>
rect 81 497 111 523
rect 165 497 195 523
rect 81 265 111 297
rect 165 265 195 297
rect 21 249 195 265
rect 21 215 37 249
rect 71 215 195 249
rect 21 199 195 215
rect 81 177 111 199
rect 165 177 195 199
rect 81 21 111 47
rect 165 21 195 47
<< polycont >>
rect 37 215 71 249
<< locali >>
rect 0 527 29 561
rect 63 527 121 561
rect 155 527 213 561
rect 247 527 276 561
rect 25 485 71 527
rect 25 451 37 485
rect 25 417 71 451
rect 25 383 37 417
rect 25 349 71 383
rect 25 315 37 349
rect 25 299 71 315
rect 105 485 171 493
rect 105 451 121 485
rect 155 451 171 485
rect 105 417 171 451
rect 105 383 121 417
rect 155 383 171 417
rect 105 349 171 383
rect 105 315 121 349
rect 155 315 171 349
rect 105 297 171 315
rect 205 485 247 527
rect 239 451 247 485
rect 205 417 247 451
rect 239 383 247 417
rect 205 349 247 383
rect 239 315 247 349
rect 205 299 247 315
rect 21 249 87 265
rect 21 215 37 249
rect 71 215 87 249
rect 25 165 71 181
rect 121 177 171 297
rect 25 131 37 165
rect 25 93 71 131
rect 25 59 37 93
rect 25 17 71 59
rect 105 165 171 177
rect 105 131 121 165
rect 155 131 171 165
rect 105 93 171 131
rect 105 59 121 93
rect 155 59 171 93
rect 105 51 171 59
rect 205 165 247 181
rect 239 131 247 165
rect 205 93 247 131
rect 239 59 247 93
rect 205 17 247 59
rect 0 -17 29 17
rect 63 -17 121 17
rect 155 -17 213 17
rect 247 -17 276 17
<< viali >>
rect 29 527 63 561
rect 121 527 155 561
rect 213 527 247 561
rect 29 -17 63 17
rect 121 -17 155 17
rect 213 -17 247 17
<< metal1 >>
rect 0 561 276 592
rect 0 527 29 561
rect 63 527 121 561
rect 155 527 213 561
rect 247 527 276 561
rect 0 496 276 527
rect 0 17 276 48
rect 0 -17 29 17
rect 63 -17 121 17
rect 155 -17 213 17
rect 247 -17 276 17
rect 0 -48 276 -17
<< labels >>
flabel locali s 29 221 63 255 0 FreeSans 340 0 0 0 A
port 1 nsew signal input
flabel locali s 121 153 155 187 0 FreeSans 340 0 0 0 Y
port 6 nsew signal output
flabel locali s 121 289 155 323 0 FreeSans 340 0 0 0 Y
port 6 nsew signal output
flabel locali s 121 221 155 255 0 FreeSans 340 0 0 0 Y
port 6 nsew signal output
flabel nwell s 29 527 63 561 0 FreeSans 200 0 0 0 VPB
port 4 nsew power bidirectional
flabel pwell s 29 -17 63 17 0 FreeSans 200 0 0 0 VNB
port 3 nsew ground bidirectional
flabel metal1 s 29 527 63 561 0 FreeSans 200 0 0 0 VPWR
port 5 nsew power bidirectional abutment
flabel metal1 s 29 -17 63 17 0 FreeSans 200 0 0 0 VGND
port 2 nsew ground bidirectional abutment
rlabel comment s 0 0 0 0 4 inv_2
rlabel metal1 s 0 -48 276 48 1 VGND
port 2 nsew ground bidirectional abutment
rlabel metal1 s 0 496 276 592 1 VPWR
port 5 nsew power bidirectional abutment
<< properties >>
string FIXED_BBOX 0 0 276 544
string GDS_END 1635320
string GDS_FILE $PDKPATH/libs.ref/sky130_fd_sc_hd/gds/sky130_fd_sc_hd.gds
string GDS_START 1631572
string LEFclass CORE
string LEFsite unithd
string LEFsymmetry X Y R90
string path 0.000 0.000 6.900 0.000 
<< end >>

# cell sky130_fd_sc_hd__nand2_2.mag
magic
tech sky130A
magscale 1 2
<< nwell >>
rect -38 261 498 582
<< pwell >>
rect 1 21 439 203
rect 30 -17 64 21
<< scnmos >>
rect 79 47 109 177
rect 163 47 193 177
rect 247 47 277 177
rect 331 47 361 177
<< scpmoshvt >>
rect 79 297 109 497
rect 163 297 193 497
rect 247 297 277 497
rect 331 297 361 497
<< ndiff >>
rect 27 161 79 177
rect 27 127 35 161
rect 69 127 79 161
rect 27 93 79 127
rect 27 59 35 93
rect 69 59 79 93
rect 27 47 79 59
rect 109 93 163 177
rect 109 59 119 93
rect 153 59 163 93
rect 109 47 163 59
rect 193 161 247 177
rect 193 127 203 161
rect 237 127 247 161
rect 193 93 247 127
rect 193 59 203 93
rect 237 59 247 93
rect 193 47 247 59
rect 277 165 331 177
rect 277 131 287 165
rect 321 131 331 165
rect 277 47 331 131
rect 361 93 413 177
rect 361 59 371 93
rect 405 59 413 93
rect 361 47 413 59
<< pdiff >>
rect 27 485 79 497
rect 27 451 35 485
rect 69 451 79 485
rect 27 417 79 451
rect 27 383 35 417
rect 69 383 79 417
rect 27 349 79 383
rect 27 315 35 349
rect 69 315 79 349
rect 27 297 79 315
rect 109 485 163 497
rect 109 451 119 485
rect 153 451 163 485
rect 109 417 163 451
rect 109 383 119 417
rect 153 383 163 417
rect 109 349 163 383
rect 109 315 119 349
rect 153 315 163 349
rect 109 297 163 315
rect 193 485 247 497
rect 193 451 203 485
rect 237 451 247 485
rect 193 417 247 451
rect 193 383 203 417
rect 237 383 247 417
rect 193 297 247 383
rect 277 485 331 497
rect 277 451 287 485
rect 321 451 331 485
rect 277 417 331 451
rect 277 383 287 417
rect 321 383 331 417
rect 277 349 331 383
rect 277 315 287 349
rect 321 315 331 349
rect 277 297 331 315
rect 361 485 413 497
rect 361 451 371 485
rect 405 451 413 485
rect 361 417 413 451
rect 361 383 371 417
rect 405 383 413 417
rect 361 297 413 383
<< ndiffc >>
rect 35 127 69 161
rect 35 59 69 93
rect 119 59 153 93
rect 203 127 237 161
rect 203 59 237 93
rect 287 131 321 165
rect 371 59 405 93
<< pdiffc >>
rect 35 451 69 485
rect 35 383 69 417
rect 35 315 69 349
rect 119 451 153 485
rect 119 383 153 417
rect 119 315 153 349
rect 203 451 237 485
rect 203 383 237 417
rect 287 451 321 485
rect 287 383 321 417
rect 287 315 321 349
rect 371 451 405 485
rect 371 383 405 417
<< poly >>
rect 79 497 109 523
rect 163 497 193 523
rect 247 497 277 523
rect 331 497 361 523
rect 79 265 109 297
rect 163 265 193 297
rect 79 249 193 265
rect 79 215 119 249
rect 153 215 193 249
rect 79 199 193 215
rect 79 177 109 199
rect 163 177 193 199
rect 247 265 277 297
rect 331 265 361 297
rect 247 249 361 265
rect 247 215 287 249
rect 321 215 361 249
rect 247 199 361 215
rect 247 177 277 199
rect 331 177 361 199
rect 79 21 109 47
rect 163 21 193 47
rect 247 21 277 47
rect 331 21 361 47
<< polycont >>
rect 119 215 153 249
rect 287 215 321 249
<< locali >>
rect 0 527 29 561
rect 63 527 121 561
rect 155 527 213 561
rect 247 527 305 561
rect 339 527 397 561
rect 431 527 460 561
rect 17 485 69 527
rect 17 451 35 485
rect 17 417 69 451
rect 17 383 35 417
rect 17 349 69 383
rect 17 315 35 349
rect 17 299 69 315
rect 103 485 169 493
rect 103 451 119 485
rect 153 451 169 485
rect 103 417 169 451
rect 103 383 119 417
rect 153 383 169 417
rect 103 349 169 383
rect 203 485 237 527
rect 203 417 237 451
rect 203 367 237 383
rect 271 485 337 493
rect 271 451 287 485
rect 321 451 337 485
rect 271 417 337 451
rect 271 383 287 417
rect 321 383 337 417
rect 103 315 119 349
rect 153 333 169 349
rect 271 349 337 383
rect 371 485 422 527
rect 405 451 422 485
rect 371 417 422 451
rect 405 383 422 417
rect 371 367 422 383
rect 271 333 287 349
rect 153 315 287 333
rect 321 333 337 349
rect 321 315 443 333
rect 103 299 443 315
rect 17 249 169 265
rect 17 215 119 249
rect 153 215 169 249
rect 203 249 353 265
rect 203 215 287 249
rect 321 215 353 249
rect 387 181 443 299
rect 17 161 237 177
rect 17 127 35 161
rect 69 143 203 161
rect 69 127 85 143
rect 17 93 85 127
rect 187 127 203 143
rect 271 165 443 181
rect 271 131 287 165
rect 321 131 443 165
rect 17 59 35 93
rect 69 59 85 93
rect 17 51 85 59
rect 119 93 153 109
rect 119 17 153 59
rect 187 93 237 127
rect 355 93 421 97
rect 187 59 203 93
rect 237 59 371 93
rect 405 59 421 93
rect 187 51 421 59
rect 0 -17 29 17
rect 63 -17 121 17
rect 155 -17 213 17
rect 247 -17 305 17
rect 339 -17 397 17
rect 431 -17 460 17
<< viali >>
rect 29 527 63 561
rect 121 527 155 561
rect 213 527 247 561
rect 305 527 339 561
rect 397 527 431 561
rect 29 -17 63 17
rect 121 -17 155 17
rect 213 -17 247 17
rect 305 -17 339 17
rect 397 -17 431 17
<< metal1 >>
rect 0 561 460 592
rect 0 527 29 561
rect 63 527 121 561
rect 155 527 213 561
rect 247 527 305 561
rect 339 527 397 561
rect 431 527 460 561
rect 0 496 460 527
rect 0 17 460 48
rect 0 -17 29 17
rect 63 -17 121 17
rect 155 -17 213 17
rect 247 -17 305 17
rect 339 -17 397 17
rect 431 -17 460 17
rect 0 -48 460 -17
<< labels >>
flabel locali s 398 153 432 187 0 FreeSans 250 0 0 0 Y
port 7 nsew signal output
flabel locali s 398 221 432 255 0 FreeSans 250 0 0 0 Y
port 7 nsew signal output
flabel locali s 398 289 432 323 0 FreeSans 250 0 0 0 Y
port 7 nsew signal output
flabel locali s 306 221 340 255 0 FreeSans 250 0 0 0 A
port 1 nsew signal input
flabel locali s 122 221 156 255 0 FreeSans 250 0 0 0 B
port 2 nsew signal input
flabel nwell s 30 527 64 561 0 FreeSans 200 0 0 0 VPB
port 5 nsew power bidirectional
flabel pwell s 30 -17 64 17 0 FreeSans 200 0 0 0 VNB
port 4 nsew ground bidirectional
flabel metal1 s 30 -17 64 17 0 FreeSans 200 0 0 0 VGND
port 3 nsew ground bidirectional abutment
flabel metal1 s 30 527 64 561 0 FreeSans 200 0 0 0 VPWR
port 6 nsew power bidirectional abutment
rlabel comment s 0 0 0 0 4 nand2_2
rlabel metal1 s 0 -48 460 48 1 VGND
port 3 nsew ground bidirectional abutment
rlabel metal1 s 0 496 460 592 1 VPWR
port 6 nsew power bidirectional abutment
<< properties >>
string FIXED_BBOX 0 0 460 544
string GDS_END 1631518
string GDS_FILE $PDKPATH/libs.ref/sky130_fd_sc_hd/gds/sky130_fd_sc_hd.gds
string GDS_START 1626538
string LEFclass CORE
string LEFsite unithd
string LEFsymmetry X Y R90
string path 0.000 0.000 11.500 0.000 
<< end >>

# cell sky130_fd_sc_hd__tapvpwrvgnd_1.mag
magic
tech sky130A
magscale 1 2
<< nwell >>
rect -38 261 130 582
<< pwell >>
rect 3 38 89 195
<< psubdiff >>
rect 29 145 63 169
rect 29 64 63 111
<< nsubdiff >>
rect 29 456 63 480
rect 29 363 63 422
rect 29 305 63 329
<< psubdiffcont >>
rect 29 111 63 145
<< nsubdiffcont >>
rect 29 422 63 456
rect 29 329 63 363
<< locali >>
rect 0 527 29 561
rect 63 527 92 561
rect 17 456 75 527
rect 17 422 29 456
rect 63 422 75 456
rect 17 363 75 422
rect 17 329 29 363
rect 63 329 75 363
rect 17 294 75 329
rect 17 145 75 162
rect 17 111 29 145
rect 63 111 75 145
rect 17 17 75 111
rect 0 -17 29 17
rect 63 -17 92 17
<< viali >>
rect 29 527 63 561
rect 29 -17 63 17
<< metal1 >>
rect 0 561 92 592
rect 0 527 29 561
rect 63 527 92 561
rect 0 496 92 527
rect 0 17 92 48
rect 0 -17 29 17
rect 63 -17 92 17
rect 0 -48 92 -17
<< labels >>
flabel metal1 s 22 524 75 553 0 FreeSans 200 0 0 0 VPWR
port 2 nsew power bidirectional abutment
flabel metal1 s 21 -18 72 20 0 FreeSans 200 0 0 0 VGND
port 1 nsew ground bidirectional abutment
rlabel comment s 0 0 0 0 4 tapvpwrvgnd_1
rlabel metal1 s 0 -48 92 48 1 VGND
port 1 nsew ground bidirectional abutment
rlabel metal1 s 0 496 92 592 1 VPWR
port 2 nsew power bidirectional abutment
<< properties >>
string FIXED_BBOX 0 0 92 544
string GDS_END 634034
string GDS_FILE $PDKPATH/libs.ref/sky130_fd_sc_hd/gds/sky130_fd_sc_hd.gds
string GDS_START 632414
string LEFclass CORE WELLTAP
string LEFsite unithd
string LEFsymmetry X Y R90
string MASKHINTS_PSDM 0 38 92 195
string MASKHINTS_NSDM 0 279 92 506
<< end >>
